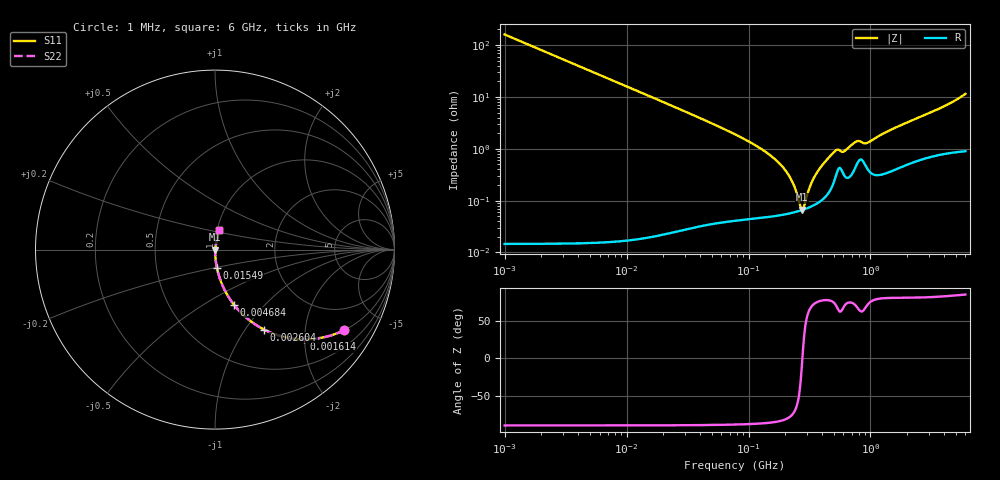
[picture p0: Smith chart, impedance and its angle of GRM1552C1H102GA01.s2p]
!Murata Part Number: GRM1552C1H102GA01
!These Parameters are Measured in Series Mode Connection
!Data Generated on Mar 30, 2021
!  o--ll--o
!Port1  Port2
!  o------o
!Operation Temp=25[degC], DC Bias Voltage=0[V]
!Freq. Start=1000[kHz] Stop=6[GHz] 401[Steps]
# Hz S RI R 50
!Freq.(Hz) S11(Real) S11(Imag) S21(Real) S21(Imag) S12(Real) S12(Imag) S22(Real) S22(Imag)
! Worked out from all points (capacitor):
!   401 points, 1 MHz to 6 GHz, reference 50 ohm
!   read as one part in series: C = 993 pF near 1.044 MHz
!   lowest |Z| = 66.7 mohm at 273.5 MHz (marker M1)
!   series resonance near 276.4 MHz, so ESL is about 330 pH
!   S11 on the Smith chart (normalised r, x): 1 MHz: 1.00, -3.21; 1.614 MHz: 1.00, -1.99; 2.604 MHz: 1.00, -1.23; 4.684 MHz: 1.00, -0.68; 15.49 MHz: 1.00, -0.21; 6 GHz: 1.02, +0.23
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1000000  0.7197 -0.4491  0.2803 0.4491  0.2803 0.4491  0.7197 -0.4491
1613609  0.4966 -0.4999  0.5034 0.4999  0.5034 0.4999  0.4966 -0.4999
2603734  0.2748 -0.4463  0.7252 0.4463  0.7252 0.4463  0.2748 -0.4463
4293785  0.1223 -0.3274  0.8777 0.3274  0.8777 0.3274  0.1223 -0.3274
4684054  0.1048 -0.3061  0.8952 0.3061  0.8952 0.3061  0.1048 -0.3061
1.549236e7  0.0107 -0.1019  0.9893 0.1019  0.9893 0.1019  0.0107 -0.1019
1.843659e7  0.00762 -0.0858  0.9924 0.0858  0.9924 0.0858  0.00762 -0.0858
7.745967e7  0.000768 -0.019  0.9992 0.019  0.9992 0.019  0.000768 -0.019
1.305463e8  0.000558 -0.00951  0.9994 0.00951  0.9994 0.00951  0.000558 -0.00951
1.848803e8  0.000548 -0.0048  0.9995 0.0048  0.9995 0.0048  0.000548 -0.0048
2.248532e8  0.000582 -0.00242  0.9994 0.00242  0.9994 0.00242  0.000582 -0.00242
2.734687e8  0.000655 -0.000124  0.9993 0.000124  0.9993 0.000124  0.000655 -0.000124
2.856264e8  0.000678 0.000388  0.9993 -0.000388  0.9993 -0.000388  0.000678 0.000388
3.325952e8  0.00079 0.00222  0.9992 -0.00222  0.9992 -0.00222  0.00079 0.00222
3.958029e8  0.00102 0.00448  0.999 -0.00448  0.999 -0.00448  0.00102 0.00448
5.138348e8  0.0028 0.00863  0.9972 -0.00863  0.9972 -0.00863  0.0028 0.00863
6.11486e8  0.00307 0.00843  0.9969 -0.00843  0.9969 -0.00843  0.00307 0.00843
7.767579e8  0.00526 0.0129  0.9947 -0.0129  0.9947 -0.0129  0.00526 0.0129
9.447004e8  0.00422 0.0123  0.9958 -0.0123  0.9958 -0.0123  0.00422 0.0123
1.428092e9  0.00403 0.0221  0.996 -0.0221  0.996 -0.0221  0.00403 0.0221
3.800129e9  0.0113 0.0604  0.9887 -0.0604  0.9887 -0.0604  0.0113 0.0604
6e9  0.0215 0.111  0.9785 -0.111  0.9785 -0.111  0.0215 0.111
